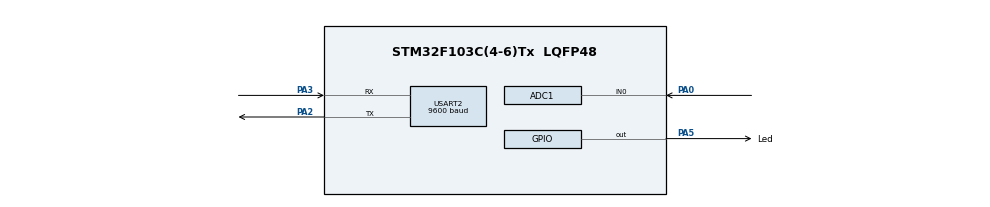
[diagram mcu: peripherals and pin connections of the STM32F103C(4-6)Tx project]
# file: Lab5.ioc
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ADC1.Channel-0\#ChannelRegularConversion=ADC_CHANNEL_0
ADC1.ContinuousConvMode=ENABLE
ADC1.NbrOfConversionFlag=1
ADC1.Rank-0\#ChannelRegularConversion=1
ADC1.SamplingTime-0\#ChannelRegularConversion=ADC_SAMPLETIME_1CYCLE_5
ADC1.master=1
Mcu.Family=STM32F1
Mcu.Name=STM32F103C(4-6)Tx
Mcu.Package=LQFP48
NVIC.PriorityGroup=NVIC_PRIORITYGROUP_4
NVIC.TIM2_IRQn=true\:0\:0\:false\:false\:true\:true\:true\:true
NVIC.USART2_IRQn=true\:0\:0\:false\:false\:true\:true\:true\:true
PA0-WKUP.Signal=ADCx_IN0
PA2.Mode=Asynchronous
PA2.Signal=USART2_TX
PA3.Mode=Asynchronous
PA3.Signal=USART2_RX
PA5.GPIO_Label=Led
PA5.Signal=GPIO_Output
ProjectManager.HeapSize=0x200
ProjectManager.StackSize=0x400
ProjectManager.TargetToolchain=STM32CubeIDE
RCC.APB1Freq_Value=8000000
RCC.APB2Freq_Value=8000000
SH.ADCx_IN0.0=ADC1_IN0,IN0
TIM2.Period=9
TIM2.Prescaler=7999
USART2.BaudRate=9600
USART2.VirtualMode=VM_ASYNC
VP_SYS_VS_ND.Mode=No_Debug
VP_TIM2_VS_ClockSourceINT.Mode=Internal
board=custom

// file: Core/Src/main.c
/* USER CODE BEGIN Header */
/**
  ******************************************************************************
  * @file           : main.c
  * @brief          : Main program body
  ******************************************************************************
  * @attention
  *
  * Copyright (c) 2024 STMicroelectronics.
  * All rights reserved.
  *
  * This software is licensed under terms that can be found in the LICENSE file
  * in the root directory of this software component.
  * If no LICENSE file comes with this software, it is provided AS-IS.
  *
  ******************************************************************************
  */
/* USER CODE END Header */
#include "main.h"

/* USER CODE BEGIN Includes */
#include <stdio.h>
#include "global.h"
#include "softwareTimer.h"
#include "commandParserFSM.h"
#include "uartCommunicationFSM.h"
/* USER CODE END Includes */

ADC_HandleTypeDef hadc1;

TIM_HandleTypeDef htim2;

UART_HandleTypeDef huart2;

void SystemClock_Config(void);
static void MX_GPIO_Init(void);
static void MX_ADC1_Init(void);
static void MX_USART2_UART_Init(void);
static void MX_TIM2_Init(void);

/* USER CODE BEGIN 0 */

void HAL_UART_RxCpltCallback(UART_HandleTypeDef * huart){
	if(huart->Instance == USART2){
		HAL_UART_Transmit(&huart2, &temp, 1, 50);
		buffer[bufferID++] = temp;
		if(bufferID >= MaxBufferSize) bufferID = 0;
		bufferFlag = 1;
		HAL_UART_Receive_IT(&huart2, &temp, 1);
	}
}

void sendData(const char* str){
	HAL_UART_Transmit(&huart2, (void *)str, stringLength(str), 1000);
}
/* USER CODE END 0 */

int main(void)
{

  /* MCU Configuration--------------------------------------------------------*/

  /* Reset of all peripherals, Initializes the Flash interface and the Systick. */
  HAL_Init();

  /* Configure the system clock */
  SystemClock_Config();

  /* Initialize all configured peripherals */
  MX_GPIO_Init();
  MX_ADC1_Init();
  MX_USART2_UART_Init();
  MX_TIM2_Init();

  /* Infinite loop */
  /* USER CODE BEGIN WHILE */
  HAL_UART_Receive_IT(&huart2, &temp, 1);
  HAL_TIM_Base_Start_IT(&htim2);
  HAL_ADC_Start(&hadc1);
  initSoftwareTimer(10);
  while (1)
  {
	  if(bufferFlag == 1){
		  bufferFlag = 0;
		  commandParserFSM();
	  }
	  uartCommunicationFSM();
    /* USER CODE END WHILE */

  }
}

void SystemClock_Config(void)
{
  RCC_OscInitTypeDef RCC_OscInitStruct = {0};
  RCC_ClkInitTypeDef RCC_ClkInitStruct = {0};
  RCC_PeriphCLKInitTypeDef PeriphClkInit = {0};

  /** Initializes the RCC Oscillators according to the specified parameters
  * in the RCC_OscInitTypeDef structure.
  */
  RCC_OscInitStruct.OscillatorType = RCC_OSCILLATORTYPE_HSI;
  RCC_OscInitStruct.HSIState = RCC_HSI_ON;
  RCC_OscInitStruct.HSICalibrationValue = RCC_HSICALIBRATION_DEFAULT;
  RCC_OscInitStruct.PLL.PLLState = RCC_PLL_NONE;
  if (HAL_RCC_OscConfig(&RCC_OscInitStruct) != HAL_OK)
  {
    Error_Handler();
  }

  /** Initializes the CPU, AHB and APB buses clocks
  */
  RCC_ClkInitStruct.ClockType = RCC_CLOCKTYPE_HCLK|RCC_CLOCKTYPE_SYSCLK
                              |RCC_CLOCKTYPE_PCLK1|RCC_CLOCKTYPE_PCLK2;
  RCC_ClkInitStruct.SYSCLKSource = RCC_SYSCLKSOURCE_HSI;
  RCC_ClkInitStruct.AHBCLKDivider = RCC_SYSCLK_DIV1;
  RCC_ClkInitStruct.APB1CLKDivider = RCC_HCLK_DIV1;
  RCC_ClkInitStruct.APB2CLKDivider = RCC_HCLK_DIV1;

  if (HAL_RCC_ClockConfig(&RCC_ClkInitStruct, FLASH_LATENCY_0) != HAL_OK)
  {
    Error_Handler();
  }
  PeriphClkInit.PeriphClockSelection = RCC_PERIPHCLK_ADC;
  PeriphClkInit.AdcClockSelection = RCC_ADCPCLK2_DIV2;
  if (HAL_RCCEx_PeriphCLKConfig(&PeriphClkInit) != HAL_OK)
  {
    Error_Handler();
  }
}

static void MX_ADC1_Init(void)
{

  ADC_ChannelConfTypeDef sConfig = {0};

  /** Common config
  */
  hadc1.Instance = ADC1;
  hadc1.Init.ScanConvMode = ADC_SCAN_DISABLE;
  hadc1.Init.ContinuousConvMode = ENABLE;
  hadc1.Init.DiscontinuousConvMode = DISABLE;
  hadc1.Init.ExternalTrigConv = ADC_SOFTWARE_START;
  hadc1.Init.DataAlign = ADC_DATAALIGN_RIGHT;
  hadc1.Init.NbrOfConversion = 1;
  if (HAL_ADC_Init(&hadc1) != HAL_OK)
  {
    Error_Handler();
  }

  /** Configure Regular Channel
  */
  sConfig.Channel = ADC_CHANNEL_0;
  sConfig.Rank = ADC_REGULAR_RANK_1;
  sConfig.SamplingTime = ADC_SAMPLETIME_1CYCLE_5;
  if (HAL_ADC_ConfigChannel(&hadc1, &sConfig) != HAL_OK)
  {
    Error_Handler();
  }

}

static void MX_TIM2_Init(void)
{

  TIM_ClockConfigTypeDef sClockSourceConfig = {0};
  TIM_MasterConfigTypeDef sMasterConfig = {0};

  htim2.Instance = TIM2;
  htim2.Init.Prescaler = 7999;
  htim2.Init.CounterMode = TIM_COUNTERMODE_UP;
  htim2.Init.Period = 9;
  htim2.Init.ClockDivision = TIM_CLOCKDIVISION_DIV1;
  htim2.Init.AutoReloadPreload = TIM_AUTORELOAD_PRELOAD_DISABLE;
  if (HAL_TIM_Base_Init(&htim2) != HAL_OK)
  {
    Error_Handler();
  }
  sClockSourceConfig.ClockSource = TIM_CLOCKSOURCE_INTERNAL;
  if (HAL_TIM_ConfigClockSource(&htim2, &sClockSourceConfig) != HAL_OK)
  {
    Error_Handler();
  }
  sMasterConfig.MasterOutputTrigger = TIM_TRGO_RESET;
  sMasterConfig.MasterSlaveMode = TIM_MASTERSLAVEMODE_DISABLE;
  if (HAL_TIMEx_MasterConfigSynchronization(&htim2, &sMasterConfig) != HAL_OK)
  {
    Error_Handler();
  }

}

static void MX_USART2_UART_Init(void)
{

  huart2.Instance = USART2;
  huart2.Init.BaudRate = 9600;
  huart2.Init.WordLength = UART_WORDLENGTH_8B;
  huart2.Init.StopBits = UART_STOPBITS_1;
  huart2.Init.Parity = UART_PARITY_NONE;
  huart2.Init.Mode = UART_MODE_TX_RX;
  huart2.Init.HwFlowCtl = UART_HWCONTROL_NONE;
  huart2.Init.OverSampling = UART_OVERSAMPLING_16;
  if (HAL_UART_Init(&huart2) != HAL_OK)
  {
    Error_Handler();
  }

}

static void MX_GPIO_Init(void)
{
  GPIO_InitTypeDef GPIO_InitStruct = {0};

  /* GPIO Ports Clock Enable */
  __HAL_RCC_GPIOA_CLK_ENABLE();

  /*Configure GPIO pin Output Level */
  HAL_GPIO_WritePin(Led_GPIO_Port, Led_Pin, GPIO_PIN_RESET);

  /*Configure GPIO pin : Led_Pin */
  GPIO_InitStruct.Pin = Led_Pin;
  GPIO_InitStruct.Mode = GPIO_MODE_OUTPUT_PP;
  GPIO_InitStruct.Pull = GPIO_NOPULL;
  GPIO_InitStruct.Speed = GPIO_SPEED_FREQ_LOW;
  HAL_GPIO_Init(Led_GPIO_Port, &GPIO_InitStruct);

}

/* USER CODE BEGIN 4 */
void HAL_TIM_PeriodElapsedCallback(TIM_HandleTypeDef *htim){
	timerRun();
}

/* USER CODE END 4 */

void Error_Handler(void)
{
  __disable_irq();
  while (1)
  {
  }
}
